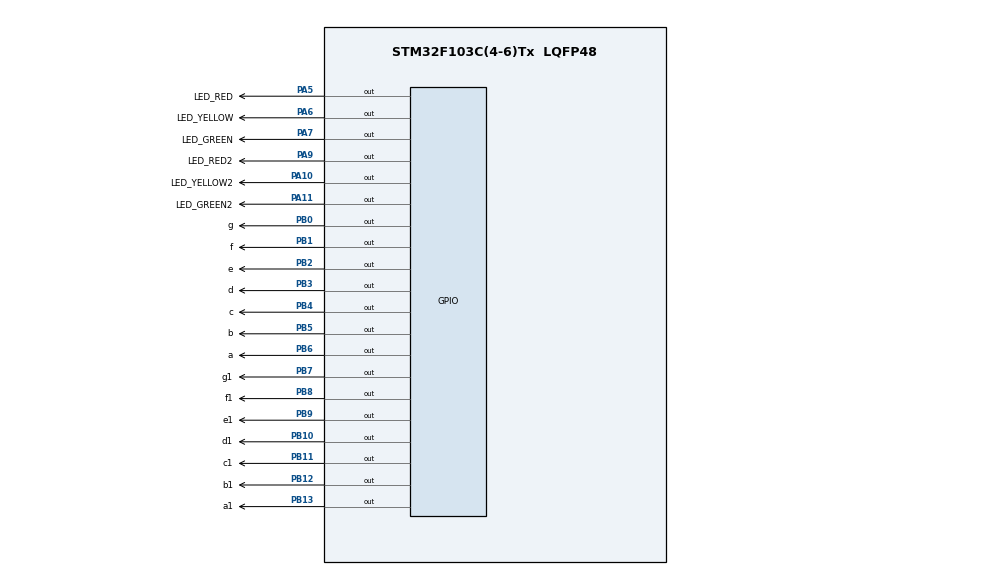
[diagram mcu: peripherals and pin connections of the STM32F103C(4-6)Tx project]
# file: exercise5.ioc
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Mcu.Family=STM32F1
Mcu.Name=STM32F103C(4-6)Tx
Mcu.Package=LQFP48
NVIC.PriorityGroup=NVIC_PRIORITYGROUP_4
PA10.GPIO_Label=LED_YELLOW2
PA10.Signal=GPIO_Output
PA11.GPIO_Label=LED_GREEN2
PA11.Signal=GPIO_Output
PA5.GPIO_Label=LED_RED
PA5.Signal=GPIO_Output
PA6.GPIO_Label=LED_YELLOW
PA6.Signal=GPIO_Output
PA7.GPIO_Label=LED_GREEN
PA7.Signal=GPIO_Output
PA9.GPIO_Label=LED_RED2
PA9.Signal=GPIO_Output
PB0.GPIO_Label=g
PB0.Signal=GPIO_Output
PB1.GPIO_Label=f
PB1.Signal=GPIO_Output
PB10.GPIO_Label=d1
PB10.Signal=GPIO_Output
PB11.GPIO_Label=c1
PB11.Signal=GPIO_Output
PB12.GPIO_Label=b1
PB12.Signal=GPIO_Output
PB13.GPIO_Label=a1
PB13.Signal=GPIO_Output
PB2.GPIO_Label=e
PB2.Signal=GPIO_Output
PB3.GPIO_Label=d
PB3.Signal=GPIO_Output
PB4.GPIO_Label=c
PB4.Signal=GPIO_Output
PB5.GPIO_Label=b
PB5.Signal=GPIO_Output
PB6.GPIO_Label=a
PB6.Signal=GPIO_Output
PB7.GPIO_Label=g1
PB7.Signal=GPIO_Output
PB8.GPIO_Label=f1
PB8.Signal=GPIO_Output
PB9.GPIO_Label=e1
PB9.Signal=GPIO_Output
ProjectManager.HeapSize=0x200
ProjectManager.StackSize=0x400
ProjectManager.TargetToolchain=STM32CubeIDE
RCC.APB1Freq_Value=8000000
RCC.APB2Freq_Value=8000000
board=custom

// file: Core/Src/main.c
/* USER CODE BEGIN Header */
/**
 ******************************************************************************
 * @file           : main.c
 * @brief          : Main program body
 ******************************************************************************
 * @attention
 *
 * Copyright (c) 2022 STMicroelectronics.
 * All rights reserved.
 *
 * This software is licensed under terms that can be found in the LICENSE file
 * in the root directory of this software component.
 * If no LICENSE file comes with this software, it is provided AS-IS.
 *
 ******************************************************************************
 */
/* USER CODE END Header */
#include "main.h"

void SystemClock_Config(void);
static void MX_GPIO_Init(void);

int main(void) {

	/* MCU Configuration--------------------------------------------------------*/

	/* Reset of all peripherals, Initializes the Flash interface and the Systick. */
	HAL_Init();

	/* Configure the system clock */
	SystemClock_Config();

	/* Initialize all configured peripherals */
	MX_GPIO_Init();
	/* USER CODE BEGIN 2 */
	void display7SEG1(int num) {
		switch (num) {
		case 0:
			HAL_GPIO_WritePin(GPIOB, GPIO_PIN_6, 0);
			HAL_GPIO_WritePin(GPIOB, GPIO_PIN_5, 0);
			HAL_GPIO_WritePin(GPIOB, GPIO_PIN_4, 0);
			HAL_GPIO_WritePin(GPIOB, GPIO_PIN_3, 0);
			HAL_GPIO_WritePin(GPIOB, GPIO_PIN_2, 0);
			HAL_GPIO_WritePin(GPIOB, GPIO_PIN_1, 0);
			HAL_GPIO_WritePin(GPIOB, GPIO_PIN_0, 1);
			break;
		case 1:
			HAL_GPIO_WritePin(GPIOB, GPIO_PIN_6, 1);
			HAL_GPIO_WritePin(GPIOB, GPIO_PIN_5, 0);
			HAL_GPIO_WritePin(GPIOB, GPIO_PIN_4, 0);
			HAL_GPIO_WritePin(GPIOB, GPIO_PIN_3, 1);
			HAL_GPIO_WritePin(GPIOB, GPIO_PIN_2, 1);
			HAL_GPIO_WritePin(GPIOB, GPIO_PIN_1, 1);
			HAL_GPIO_WritePin(GPIOB, GPIO_PIN_0, 1);
			break;
		case 2:
			HAL_GPIO_WritePin(GPIOB, GPIO_PIN_6, 0);
			HAL_GPIO_WritePin(GPIOB, GPIO_PIN_5, 0);
			HAL_GPIO_WritePin(GPIOB, GPIO_PIN_4, 1);
			HAL_GPIO_WritePin(GPIOB, GPIO_PIN_3, 0);
			HAL_GPIO_WritePin(GPIOB, GPIO_PIN_2, 0);
			HAL_GPIO_WritePin(GPIOB, GPIO_PIN_1, 1);
			HAL_GPIO_WritePin(GPIOB, GPIO_PIN_0, 0);
			break;
		case 3:
			HAL_GPIO_WritePin(GPIOB, GPIO_PIN_6, 0);
			HAL_GPIO_WritePin(GPIOB, GPIO_PIN_5, 0);
			HAL_GPIO_WritePin(GPIOB, GPIO_PIN_4, 0);
			HAL_GPIO_WritePin(GPIOB, GPIO_PIN_3, 0);
			HAL_GPIO_WritePin(GPIOB, GPIO_PIN_2, 1);
			HAL_GPIO_WritePin(GPIOB, GPIO_PIN_1, 1);
			HAL_GPIO_WritePin(GPIOB, GPIO_PIN_0, 0);
			break;
		case 4:
			HAL_GPIO_WritePin(GPIOB, GPIO_PIN_6, 1);
			HAL_GPIO_WritePin(GPIOB, GPIO_PIN_5, 0);
			HAL_GPIO_WritePin(GPIOB, GPIO_PIN_4, 0);
			HAL_GPIO_WritePin(GPIOB, GPIO_PIN_3, 1);
			HAL_GPIO_WritePin(GPIOB, GPIO_PIN_2, 1);
			HAL_GPIO_WritePin(GPIOB, GPIO_PIN_1, 0);
			HAL_GPIO_WritePin(GPIOB, GPIO_PIN_0, 0);
			break;
		case 5:
			HAL_GPIO_WritePin(GPIOB, GPIO_PIN_6, 0);
			HAL_GPIO_WritePin(GPIOB, GPIO_PIN_5, 1);
			HAL_GPIO_WritePin(GPIOB, GPIO_PIN_4, 0);
			HAL_GPIO_WritePin(GPIOB, GPIO_PIN_3, 0);
			HAL_GPIO_WritePin(GPIOB, GPIO_PIN_2, 1);
			HAL_GPIO_WritePin(GPIOB, GPIO_PIN_1, 0);
			HAL_GPIO_WritePin(GPIOB, GPIO_PIN_0, 0);
			break;
		case 6:
			HAL_GPIO_WritePin(GPIOB, GPIO_PIN_6, 0);
			HAL_GPIO_WritePin(GPIOB, GPIO_PIN_5, 1);
			HAL_GPIO_WritePin(GPIOB, GPIO_PIN_4, 0);
			HAL_GPIO_WritePin(GPIOB, GPIO_PIN_3, 0);
			HAL_GPIO_WritePin(GPIOB, GPIO_PIN_2, 0);
			HAL_GPIO_WritePin(GPIOB, GPIO_PIN_1, 0);
			HAL_GPIO_WritePin(GPIOB, GPIO_PIN_0, 0);
			break;
		case 7:
			HAL_GPIO_WritePin(GPIOB, GPIO_PIN_6, 0);
			HAL_GPIO_WritePin(GPIOB, GPIO_PIN_5, 0);
			HAL_GPIO_WritePin(GPIOB, GPIO_PIN_4, 0);
			HAL_GPIO_WritePin(GPIOB, GPIO_PIN_3, 1);
			HAL_GPIO_WritePin(GPIOB, GPIO_PIN_2, 1);
			HAL_GPIO_WritePin(GPIOB, GPIO_PIN_1, 1);
			HAL_GPIO_WritePin(GPIOB, GPIO_PIN_0, 1);
			break;
		case 8:
			HAL_GPIO_WritePin(GPIOB, GPIO_PIN_6, 0);
			HAL_GPIO_WritePin(GPIOB, GPIO_PIN_5, 0);
			HAL_GPIO_WritePin(GPIOB, GPIO_PIN_4, 0);
			HAL_GPIO_WritePin(GPIOB, GPIO_PIN_3, 0);
			HAL_GPIO_WritePin(GPIOB, GPIO_PIN_2, 0);
			HAL_GPIO_WritePin(GPIOB, GPIO_PIN_1, 0);
			HAL_GPIO_WritePin(GPIOB, GPIO_PIN_0, 0);
			break;
		case 9:
			HAL_GPIO_WritePin(GPIOB, GPIO_PIN_6, 0);
			HAL_GPIO_WritePin(GPIOB, GPIO_PIN_5, 0);
			HAL_GPIO_WritePin(GPIOB, GPIO_PIN_4, 0);
			HAL_GPIO_WritePin(GPIOB, GPIO_PIN_3, 0);
			HAL_GPIO_WritePin(GPIOB, GPIO_PIN_2, 1);
			HAL_GPIO_WritePin(GPIOB, GPIO_PIN_1, 0);
			HAL_GPIO_WritePin(GPIOB, GPIO_PIN_0, 0);
			break;
		default:
			HAL_GPIO_WritePin(GPIOB, GPIO_PIN_6, 1);
			HAL_GPIO_WritePin(GPIOB, GPIO_PIN_5, 1);
			HAL_GPIO_WritePin(GPIOB, GPIO_PIN_4, 1);
			HAL_GPIO_WritePin(GPIOB, GPIO_PIN_3, 1);
			HAL_GPIO_WritePin(GPIOB, GPIO_PIN_2, 1);
			HAL_GPIO_WritePin(GPIOB, GPIO_PIN_1, 1);
			HAL_GPIO_WritePin(GPIOB, GPIO_PIN_0, 1);
			break;
		}
	}
	void display7SEG2(int num) {
		switch (num) {
		case 0:
			HAL_GPIO_WritePin(GPIOB, GPIO_PIN_13, 0);
			HAL_GPIO_WritePin(GPIOB, GPIO_PIN_12, 0);
			HAL_GPIO_WritePin(GPIOB, GPIO_PIN_11, 0);
			HAL_GPIO_WritePin(GPIOB, GPIO_PIN_10, 0);
			HAL_GPIO_WritePin(GPIOB, GPIO_PIN_9, 0);
			HAL_GPIO_WritePin(GPIOB, GPIO_PIN_8, 0);
			HAL_GPIO_WritePin(GPIOB, GPIO_PIN_7, 1);
			break;
		case 1:
			HAL_GPIO_WritePin(GPIOB, GPIO_PIN_13, 1);
			HAL_GPIO_WritePin(GPIOB, GPIO_PIN_12, 0);
			HAL_GPIO_WritePin(GPIOB, GPIO_PIN_11, 0);
			HAL_GPIO_WritePin(GPIOB, GPIO_PIN_10, 1);
			HAL_GPIO_WritePin(GPIOB, GPIO_PIN_9, 1);
			HAL_GPIO_WritePin(GPIOB, GPIO_PIN_8, 1);
			HAL_GPIO_WritePin(GPIOB, GPIO_PIN_7, 1);
			break;
		case 2:
			HAL_GPIO_WritePin(GPIOB, GPIO_PIN_13, 0);
			HAL_GPIO_WritePin(GPIOB, GPIO_PIN_12, 0);
			HAL_GPIO_WritePin(GPIOB, GPIO_PIN_11, 1);
			HAL_GPIO_WritePin(GPIOB, GPIO_PIN_10, 0);
			HAL_GPIO_WritePin(GPIOB, GPIO_PIN_9, 0);
			HAL_GPIO_WritePin(GPIOB, GPIO_PIN_8, 1);
			HAL_GPIO_WritePin(GPIOB, GPIO_PIN_7, 0);
			break;
		case 3:
			HAL_GPIO_WritePin(GPIOB, GPIO_PIN_13, 0);
			HAL_GPIO_WritePin(GPIOB, GPIO_PIN_12, 0);
			HAL_GPIO_WritePin(GPIOB, GPIO_PIN_11, 0);
			HAL_GPIO_WritePin(GPIOB, GPIO_PIN_10, 0);
			HAL_GPIO_WritePin(GPIOB, GPIO_PIN_9, 1);
			HAL_GPIO_WritePin(GPIOB, GPIO_PIN_8, 1);
			HAL_GPIO_WritePin(GPIOB, GPIO_PIN_7, 0);
			break;
		case 4:
			HAL_GPIO_WritePin(GPIOB, GPIO_PIN_13, 1);
			HAL_GPIO_WritePin(GPIOB, GPIO_PIN_12, 0);
			HAL_GPIO_WritePin(GPIOB, GPIO_PIN_11, 0);
			HAL_GPIO_WritePin(GPIOB, GPIO_PIN_10, 1);
			HAL_GPIO_WritePin(GPIOB, GPIO_PIN_9, 1);
			HAL_GPIO_WritePin(GPIOB, GPIO_PIN_8, 0);
			HAL_GPIO_WritePin(GPIOB, GPIO_PIN_7, 0);
			break;
		case 5:
			HAL_GPIO_WritePin(GPIOB, GPIO_PIN_13, 0);
			HAL_GPIO_WritePin(GPIOB, GPIO_PIN_12, 1);
			HAL_GPIO_WritePin(GPIOB, GPIO_PIN_11, 0);
			HAL_GPIO_WritePin(GPIOB, GPIO_PIN_10, 0);
			HAL_GPIO_WritePin(GPIOB, GPIO_PIN_9, 1);
			HAL_GPIO_WritePin(GPIOB, GPIO_PIN_8, 0);
			HAL_GPIO_WritePin(GPIOB, GPIO_PIN_7, 0);
			break;
		case 6:
			HAL_GPIO_WritePin(GPIOB, GPIO_PIN_13, 0);
			HAL_GPIO_WritePin(GPIOB, GPIO_PIN_12, 1);
			HAL_GPIO_WritePin(GPIOB, GPIO_PIN_11, 0);
			HAL_GPIO_WritePin(GPIOB, GPIO_PIN_10, 0);
			HAL_GPIO_WritePin(GPIOB, GPIO_PIN_9, 0);
			HAL_GPIO_WritePin(GPIOB, GPIO_PIN_8, 0);
			HAL_GPIO_WritePin(GPIOB, GPIO_PIN_7, 0);
			break;
		case 7:
			HAL_GPIO_WritePin(GPIOB, GPIO_PIN_13, 0);
			HAL_GPIO_WritePin(GPIOB, GPIO_PIN_12, 0);
			HAL_GPIO_WritePin(GPIOB, GPIO_PIN_11, 0);
			HAL_GPIO_WritePin(GPIOB, GPIO_PIN_10, 1);
			HAL_GPIO_WritePin(GPIOB, GPIO_PIN_9, 1);
			HAL_GPIO_WritePin(GPIOB, GPIO_PIN_8, 1);
			HAL_GPIO_WritePin(GPIOB, GPIO_PIN_7, 1);
			break;
		case 8:
			HAL_GPIO_WritePin(GPIOB, GPIO_PIN_13, 0);
			HAL_GPIO_WritePin(GPIOB, GPIO_PIN_12, 0);
			HAL_GPIO_WritePin(GPIOB, GPIO_PIN_11, 0);
			HAL_GPIO_WritePin(GPIOB, GPIO_PIN_10, 0);
			HAL_GPIO_WritePin(GPIOB, GPIO_PIN_9, 0);
			HAL_GPIO_WritePin(GPIOB, GPIO_PIN_8, 0);
			HAL_GPIO_WritePin(GPIOB, GPIO_PIN_7, 0);
			break;
		case 9:
			HAL_GPIO_WritePin(GPIOB, GPIO_PIN_13, 0);
			HAL_GPIO_WritePin(GPIOB, GPIO_PIN_12, 0);
			HAL_GPIO_WritePin(GPIOB, GPIO_PIN_11, 0);
			HAL_GPIO_WritePin(GPIOB, GPIO_PIN_10, 0);
			HAL_GPIO_WritePin(GPIOB, GPIO_PIN_9, 1);
			HAL_GPIO_WritePin(GPIOB, GPIO_PIN_8, 0);
			HAL_GPIO_WritePin(GPIOB, GPIO_PIN_7, 0);
			break;
		default:
			HAL_GPIO_WritePin(GPIOB, GPIO_PIN_13, 1);
			HAL_GPIO_WritePin(GPIOB, GPIO_PIN_12, 1);
			HAL_GPIO_WritePin(GPIOB, GPIO_PIN_11, 1);
			HAL_GPIO_WritePin(GPIOB, GPIO_PIN_10, 1);
			HAL_GPIO_WritePin(GPIOB, GPIO_PIN_9, 1);
			HAL_GPIO_WritePin(GPIOB, GPIO_PIN_8, 1);
			HAL_GPIO_WritePin(GPIOB, GPIO_PIN_7, 1);
			break;
		}
	}

	/* USER CODE END 2 */

	/* Infinite loop */
	/* USER CODE BEGIN WHILE */
	int flag_led_red = 1, flag_led_yellow = 0, flag_led_green = 0,
			count_red = 5, count_yellow = 0, count_green = 0, count_red2 = 0,
			count_yellow2 = 0, count_green2 = 3, flag_led_red2 = 0,
			flag_led_yellow2 = 0, flag_led_green2 = 1;
	while (1) {
		/* USER CODE END WHILE */
		if (flag_led_red) {
			HAL_GPIO_WritePin(GPIOA, GPIO_PIN_5, 1);
			HAL_GPIO_WritePin(GPIOA, GPIO_PIN_6, 0);
			HAL_GPIO_WritePin(GPIOA, GPIO_PIN_7, 0);
			if (count_red > 0) {
				display7SEG1(count_red);
				count_red--;
			} else if (count_red == 0) {
				display7SEG1(0);
				flag_led_red = 0;
				flag_led_yellow = 0;
				flag_led_green = 1;
				count_green = 3;
			}
		} else if (flag_led_yellow) {
			HAL_GPIO_WritePin(GPIOA, GPIO_PIN_5, 0);
			HAL_GPIO_WritePin(GPIOA, GPIO_PIN_6, 1);
			HAL_GPIO_WritePin(GPIOA, GPIO_PIN_7, 0);
			if (count_yellow > 0) {
				display7SEG1(count_yellow);
				count_yellow--;
			} else if (count_yellow == 0) {
				display7SEG1(0);
				flag_led_red = 1;
				flag_led_yellow = 0;
				flag_led_green = 0;
				count_red = 5;
			}
		} else if (flag_led_green) {
			HAL_GPIO_WritePin(GPIOA, GPIO_PIN_5, 0);
			HAL_GPIO_WritePin(GPIOA, GPIO_PIN_6, 0);
			HAL_GPIO_WritePin(GPIOA, GPIO_PIN_7, 1);
			if (count_green > 0) {
				display7SEG1(count_green);
				count_green--;
			} else if (count_green == 0) {
				display7SEG1(0);
				flag_led_red = 0;
				flag_led_yellow = 1;
				flag_led_green = 0;
				count_yellow = 2;
			}
		}
		//Set the other traffic lights
		if (flag_led_red2) {
			HAL_GPIO_WritePin(GPIOA, GPIO_PIN_9, 1);
			HAL_GPIO_WritePin(GPIOA, GPIO_PIN_10, 0);
			HAL_GPIO_WritePin(GPIOA, GPIO_PIN_11, 0);
			if (count_red2 > 0) {
				display7SEG2(count_red2);
				count_red2--;
			} else if (count_red2 == 0) {
				display7SEG2(0);
				flag_led_red2 = 0;
				flag_led_yellow2 = 0;
				flag_led_green2 = 1;
				count_green2 = 3;
			}
		} else if (flag_led_yellow2) {
			HAL_GPIO_WritePin(GPIOA, GPIO_PIN_9, 0);
			HAL_GPIO_WritePin(GPIOA, GPIO_PIN_10, 1);
			HAL_GPIO_WritePin(GPIOA, GPIO_PIN_11, 0);
			if (count_yellow2 > 0) {
				display7SEG2(count_yellow2);
				count_yellow2--;
			} else if (count_yellow2 == 0) {
				display7SEG2(0);
				flag_led_red2 = 1;
				flag_led_yellow2 = 0;
				flag_led_green2 = 0;
				count_red2 = 5;
			}
		} else if (flag_led_green2) {
			HAL_GPIO_WritePin(GPIOA, GPIO_PIN_9, 0);
			HAL_GPIO_WritePin(GPIOA, GPIO_PIN_10, 0);
			HAL_GPIO_WritePin(GPIOA, GPIO_PIN_11, 1);
			if (count_green2 > 0) {
				display7SEG2(count_green2);
				count_green2--;
			} else if (count_green2 == 0) {
				display7SEG2(0);
				flag_led_red2 = 0;
				flag_led_yellow2 = 1;
				flag_led_green2 = 0;
				count_yellow2 = 2;
			}
		}
		HAL_Delay(1000);
	}
}

void SystemClock_Config(void) {
	RCC_OscInitTypeDef RCC_OscInitStruct = { 0 };
	RCC_ClkInitTypeDef RCC_ClkInitStruct = { 0 };

	/** Initializes the RCC Oscillators according to the specified parameters
	 * in the RCC_OscInitTypeDef structure.
	 */
	RCC_OscInitStruct.OscillatorType = RCC_OSCILLATORTYPE_HSI;
	RCC_OscInitStruct.HSIState = RCC_HSI_ON;
	RCC_OscInitStruct.HSICalibrationValue = RCC_HSICALIBRATION_DEFAULT;
	RCC_OscInitStruct.PLL.PLLState = RCC_PLL_NONE;
	if (HAL_RCC_OscConfig(&RCC_OscInitStruct) != HAL_OK) {
		Error_Handler();
	}

	/** Initializes the CPU, AHB and APB buses clocks
	 */
	RCC_ClkInitStruct.ClockType = RCC_CLOCKTYPE_HCLK | RCC_CLOCKTYPE_SYSCLK
			| RCC_CLOCKTYPE_PCLK1 | RCC_CLOCKTYPE_PCLK2;
	RCC_ClkInitStruct.SYSCLKSource = RCC_SYSCLKSOURCE_HSI;
	RCC_ClkInitStruct.AHBCLKDivider = RCC_SYSCLK_DIV1;
	RCC_ClkInitStruct.APB1CLKDivider = RCC_HCLK_DIV1;
	RCC_ClkInitStruct.APB2CLKDivider = RCC_HCLK_DIV1;

	if (HAL_RCC_ClockConfig(&RCC_ClkInitStruct, FLASH_LATENCY_0) != HAL_OK) {
		Error_Handler();
	}
}

static void MX_GPIO_Init(void) {
	GPIO_InitTypeDef GPIO_InitStruct = { 0 };

	/* GPIO Ports Clock Enable */
	__HAL_RCC_GPIOA_CLK_ENABLE();
	__HAL_RCC_GPIOB_CLK_ENABLE();

	/*Configure GPIO pin Output Level */
	HAL_GPIO_WritePin(GPIOA,
			LED_RED_Pin | LED_YELLOW_Pin | LED_GREEN_Pin | LED_RED2_Pin
					| LED_YELLOW2_Pin | LED_GREEN2_Pin, GPIO_PIN_RESET);

	/*Configure GPIO pin Output Level */
	HAL_GPIO_WritePin(GPIOB,
			g_Pin | f_Pin | e_Pin | d1_Pin | c1_Pin | b1_Pin | a1_Pin | d_Pin
					| c_Pin | b_Pin | a_Pin | g1_Pin | f1_Pin | e1_Pin,
			GPIO_PIN_RESET);

	/*Configure GPIO pins : LED_RED_Pin LED_YELLOW_Pin LED_GREEN_Pin LED_RED2_Pin
	 LED_YELLOW2_Pin LED_GREEN2_Pin */
	GPIO_InitStruct.Pin = LED_RED_Pin | LED_YELLOW_Pin | LED_GREEN_Pin
			| LED_RED2_Pin | LED_YELLOW2_Pin | LED_GREEN2_Pin;
	GPIO_InitStruct.Mode = GPIO_MODE_OUTPUT_PP;
	GPIO_InitStruct.Pull = GPIO_NOPULL;
	GPIO_InitStruct.Speed = GPIO_SPEED_FREQ_LOW;
	HAL_GPIO_Init(GPIOA, &GPIO_InitStruct);

	/*Configure GPIO pins : g_Pin f_Pin e_Pin d1_Pin
	 c1_Pin b1_Pin a1_Pin d_Pin
	 c_Pin b_Pin a_Pin g1_Pin
	 f1_Pin e1_Pin */
	GPIO_InitStruct.Pin = g_Pin | f_Pin | e_Pin | d1_Pin | c1_Pin | b1_Pin
			| a1_Pin | d_Pin | c_Pin | b_Pin | a_Pin | g1_Pin | f1_Pin | e1_Pin;
	GPIO_InitStruct.Mode = GPIO_MODE_OUTPUT_PP;
	GPIO_InitStruct.Pull = GPIO_NOPULL;
	GPIO_InitStruct.Speed = GPIO_SPEED_FREQ_LOW;
	HAL_GPIO_Init(GPIOB, &GPIO_InitStruct);

}

void Error_Handler(void) {
	__disable_irq();
	while (1) {
	}
}
